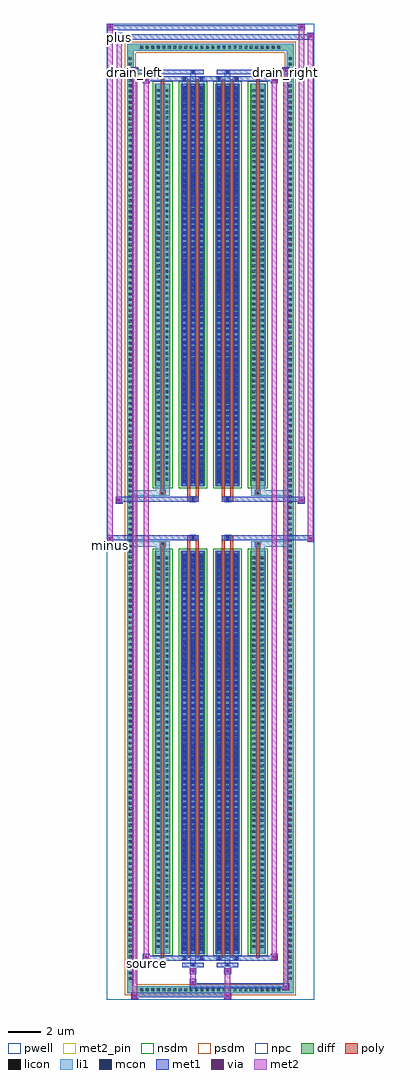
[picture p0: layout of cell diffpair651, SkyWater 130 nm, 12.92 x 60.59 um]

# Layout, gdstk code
import gdstk
lib = gdstk.Library(unit=1e-6, precision=5e-09)
def R(c, l, rs):  # rectangles x0, y0, x1, y1
    for r in rs: c.add(gdstk.rectangle(r[:2], r[2:], *l))
def A(c, l, x, y, w, h, nx, ny, dx, dy):  # array of equal rectangles
    R(c, l, [(x+i*dx, y+j*dy, x+i*dx+w, y+j*dy+h) for i in range(nx) for j in range(ny)])
def P(c, l, *ps):  # polygons
    for p in ps: c.add(gdstk.Polygon(p, *l))
pwell = (64, 44)
diff = (65, 20)
poly = (66, 20)
licon = (66, 44)
li1 = (67, 20)
mcon = (67, 44)
met1 = (68, 20)
via = (68, 44)
met2_pin = (69, 16)
met2 = (69, 20)
nsdm = (93, 44)
psdm = (94, 20)
npc = (95, 20)

diffpair651 = lib.new_cell('diffpair651')
R(diffpair651, pwell, [(-6.44,-29.86,6.44,30.73), (-3.76,-28.05,-0.01,-0.825), (0.01,-28.05,3.76,-0.825), (-3.76,0.825,-0.01,28.05), (0.01,0.825,3.76,28.05)])
A(diffpair651, diff, -4.455, -29.46, 0.41, 0.41, 26, 2, 0.34, 58.51)
A(diffpair651, diff, -5.17, -28.765, 0.41, 0.41, 1, 169, 0, 0.34)
A(diffpair651, diff, 4.76, -28.765, 0.41, 0.41, 1, 169, 0, 0.34)
R(diffpair651, diff, [(-4.455,-29.46,4.455,-29.05), (-5.17,-28.765,-4.76,28.765), (4.76,-28.765,5.17,28.765), (-3.45,-27.005,-2.47,-2.005), (-1.83,-27.005,-0.32,-2.005), (0.32,-27.005,1.83,-2.005), (2.47,-27.005,3.45,-2.005), (-3.45,2.005,-2.47,27.005), (-1.83,2.005,-0.32,27.005), (0.32,2.005,1.83,27.005), (2.47,2.005,3.45,27.005), (-4.455,29.05,4.455,29.46)])
P(diffpair651, diff, [(5.17,29.46),(-5.17,29.46),(-5.17,-29.05),(-4.76,-29.05),(-4.76,29.05),(4.76,29.05),(4.76,-29.05),(-4.76,-29.05),(-5.17,-29.05),(-5.17,-29.46),(5.17,-29.46)])
R(diffpair651, poly, [(-3.06,-27.255,-2.86,-1.755), (-1.44,-27.255,-1.24,-1.755), (-0.91,-27.255,-0.71,-1.755), (0.71,-27.255,0.91,-1.755), (1.24,-27.255,1.44,-1.755), (2.86,-27.255,3.06,-1.755), (-3.125,-1.755,-2.795,-1.425), (-3.125,-1.755,-2.795,-1.425), (-1.44,-1.755,-1.24,-1.355), (-0.91,-1.755,-0.71,-1.355), (0.71,-1.755,0.91,-1.355), (1.24,-1.755,1.44,-1.355), (2.795,-1.755,3.125,-1.425), (2.795,-1.755,3.125,-1.425), (-1.44,-1.355,-0.71,-1.025), (-1.24,-1.355,-0.91,-1.025), (0.71,-1.355,1.44,-1.025), (0.91,-1.355,1.24,-1.025), (-1.44,1.025,-0.71,1.355), (-1.24,1.025,-0.91,1.355), (0.71,1.025,1.44,1.355), (0.91,1.025,1.24,1.355), (-1.44,1.355,-1.24,1.755), (-0.91,1.355,-0.71,1.755), (0.71,1.355,0.91,1.755), (1.24,1.355,1.44,1.755), (-3.125,1.425,-2.795,1.755), (-3.125,1.425,-2.795,1.755), (2.795,1.425,3.125,1.755), (2.795,1.425,3.125,1.755), (-3.06,1.755,-2.86,27.255), (-1.44,1.755,-1.24,27.255), (-0.91,1.755,-0.71,27.255), (0.71,1.755,0.91,27.255), (1.24,1.755,1.44,27.255), (2.86,1.755,3.06,27.255)])
A(diffpair651, licon, -4.335, -29.34, 0.17, 0.17, 26, 2, 0.34, 58.51)
A(diffpair651, licon, -5.05, -28.645, 0.17, 0.17, 1, 169, 0, 0.34)
A(diffpair651, licon, 4.88, -28.645, 0.17, 0.17, 1, 169, 0, 0.34)
A(diffpair651, licon, -3.31, -26.66, 0.17, 0.17, 1, 72, 0, 0.34)
A(diffpair651, licon, -2.78, -26.66, 0.17, 0.17, 1, 72, 0, 0.34)
A(diffpair651, licon, -1.69, -26.66, 0.17, 0.17, 3, 72, 0.53, 0.34)
A(diffpair651, licon, 0.46, -26.66, 0.17, 0.17, 3, 72, 0.53, 0.34)
A(diffpair651, licon, 2.61, -26.66, 0.17, 0.17, 1, 72, 0, 0.34)
A(diffpair651, licon, 3.14, -26.66, 0.17, 0.17, 1, 72, 0, 0.34)
A(diffpair651, licon, -3.31, 2.35, 0.17, 0.17, 1, 72, 0, 0.34)
A(diffpair651, licon, -2.78, 2.35, 0.17, 0.17, 1, 72, 0, 0.34)
A(diffpair651, licon, -1.69, 2.35, 0.17, 0.17, 3, 72, 0.53, 0.34)
A(diffpair651, licon, 0.46, 2.35, 0.17, 0.17, 3, 72, 0.53, 0.34)
A(diffpair651, licon, 2.61, 2.35, 0.17, 0.17, 1, 72, 0, 0.34)
A(diffpair651, licon, 3.14, 2.35, 0.17, 0.17, 1, 72, 0, 0.34)
R(diffpair651, licon, [(-3.045,-1.675,-2.875,-1.505), (2.875,-1.675,3.045,-1.505), (-1.16,-1.275,-0.99,-1.105), (0.99,-1.275,1.16,-1.105), (-1.16,1.105,-0.99,1.275), (0.99,1.105,1.16,1.275), (-3.045,1.505,-2.875,1.675), (2.875,1.505,3.045,1.675)])
A(diffpair651, li1, -4.415, -29.42, 0.33, 0.33, 26, 2, 0.34, 58.51)
A(diffpair651, li1, -5.13, -28.725, 0.33, 0.33, 1, 169, 0, 0.34)
A(diffpair651, li1, 4.8, -28.725, 0.33, 0.33, 1, 169, 0, 0.34)
A(diffpair651, li1, -1.77, -27.005, 0.33, 25, 3, 2, 0.53, 29.01)
A(diffpair651, li1, 0.38, -27.005, 0.33, 25, 3, 2, 0.53, 29.01)
A(diffpair651, li1, -1.69, -26.83, 0.17, 0.17, 3, 69, 0.53, 0.36)
A(diffpair651, li1, -1.69, -26.83, 0.17, 24.65, 3, 2, 0.53, 29.01)
A(diffpair651, li1, 0.46, -26.83, 0.17, 0.17, 3, 69, 0.53, 0.36)
A(diffpair651, li1, 0.46, -26.83, 0.17, 24.65, 3, 2, 0.53, 29.01)
A(diffpair651, li1, -3.39, -26.74, 0.33, 0.33, 1, 72, 0, 0.34)
A(diffpair651, li1, -2.86, -26.74, 0.33, 0.33, 1, 72, 0, 0.34)
A(diffpair651, li1, -1.77, -26.74, 0.33, 0.33, 3, 72, 0.53, 0.34)
A(diffpair651, li1, 0.38, -26.74, 0.33, 0.33, 3, 72, 0.53, 0.34)
A(diffpair651, li1, 2.53, -26.74, 0.33, 0.33, 1, 72, 0, 0.34)
A(diffpair651, li1, 3.06, -26.74, 0.33, 0.33, 1, 72, 0, 0.34)
A(diffpair651, li1, -1.69, 2.18, 0.17, 0.17, 3, 69, 0.53, 0.36)
A(diffpair651, li1, 0.46, 2.18, 0.17, 0.17, 3, 69, 0.53, 0.36)
A(diffpair651, li1, -3.39, 2.27, 0.33, 0.33, 1, 72, 0, 0.34)
A(diffpair651, li1, -2.86, 2.27, 0.33, 0.33, 1, 72, 0, 0.34)
A(diffpair651, li1, -1.77, 2.27, 0.33, 0.33, 3, 72, 0.53, 0.34)
A(diffpair651, li1, 0.38, 2.27, 0.33, 0.33, 3, 72, 0.53, 0.34)
A(diffpair651, li1, 2.53, 2.27, 0.33, 0.33, 1, 72, 0, 0.34)
A(diffpair651, li1, 3.06, 2.27, 0.33, 0.33, 1, 72, 0, 0.34)
R(diffpair651, li1, [(-5.17,-29.46,-4.76,-29.05), (-5.17,-29.46,-4.76,-29.05), (-4.76,-29.46,4.76,-29.05), (4.76,-29.46,5.17,-29.05), (4.76,-29.46,5.17,-29.05), (-5.17,-29.05,-4.76,29.05), (4.76,-29.05,5.17,29.05), (-1.24,-27.81,-0.91,-27.005), (-1.16,-27.81,-0.99,-27.64), (0.91,-27.81,1.24,-27.005), (0.99,-27.81,1.16,-27.64), (-1.77,-27.38,-1.44,-27.005), (-1.69,-27.38,-1.52,-27.21), (-0.71,-27.38,-0.38,-27.005), (-0.63,-27.38,-0.46,-27.21), (0.38,-27.38,0.71,-27.005), (0.46,-27.38,0.63,-27.21), (1.44,-27.38,1.77,-27.005), (1.52,-27.38,1.69,-27.21), (-3.39,-27.005,-3.06,-2.005), (-2.86,-27.005,-2.53,-2.005), (2.53,-27.005,2.86,-2.005), (3.06,-27.005,3.39,-2.005), (-3.39,-2.005,-3.06,-1.425), (-2.86,-2.005,-2.53,-1.425), (2.53,-2.005,2.86,-1.425), (3.06,-2.005,3.39,-1.425), (-5.17,-1.755,-3.125,-1.425), (-3.39,-1.755,-3.125,-1.425), (-3.125,-1.755,-2.795,-1.425), (-2.795,-1.755,-2.53,-1.425), (2.53,-1.755,2.795,-1.425), (2.795,-1.755,3.125,-1.425), (2.795,-1.755,5.17,-1.425), (3.125,-1.755,3.39,-1.425), (-1.24,-1.355,-0.91,-1.025), (0.91,-1.355,1.24,-1.025), (-1.24,1.025,-0.91,1.355), (0.91,1.025,1.24,1.355), (-5.17,1.425,-3.125,1.755), (-3.39,1.425,-3.125,1.755), (-3.39,1.425,-3.06,2.005), (-3.125,1.425,-2.795,1.755), (-2.86,1.425,-2.53,2.005), (-2.795,1.425,-2.53,1.755), (2.53,1.425,2.795,1.755), (2.53,1.425,2.86,2.005), (2.795,1.425,3.125,1.755), (2.795,1.425,5.17,1.755), (3.06,1.425,3.39,2.005), (3.125,1.425,3.39,1.755), (-3.39,2.005,-3.06,27.005), (-2.86,2.005,-2.53,27.005), (2.53,2.005,2.86,27.005), (3.06,2.005,3.39,27.005), (-1.77,27.005,-1.44,27.38), (-1.24,27.005,-0.91,27.81), (-0.71,27.005,-0.38,27.38), (0.38,27.005,0.71,27.38), (0.91,27.005,1.24,27.81), (1.44,27.005,1.77,27.38), (-1.69,27.21,-1.52,27.38), (-0.63,27.21,-0.46,27.38), (0.46,27.21,0.63,27.38), (1.52,27.21,1.69,27.38), (-1.16,27.64,-0.99,27.81), (0.99,27.64,1.16,27.81), (-5.17,29.05,-4.76,29.46), (-5.17,29.05,-4.76,29.46), (-4.76,29.05,4.76,29.46), (4.76,29.05,5.17,29.46), (4.76,29.05,5.17,29.46)])
A(diffpair651, mcon, -1.69, -26.83, 0.17, 0.17, 3, 69, 0.53, 0.36)
A(diffpair651, mcon, 0.46, -26.83, 0.17, 0.17, 3, 69, 0.53, 0.36)
A(diffpair651, mcon, -1.69, 2.18, 0.17, 0.17, 3, 69, 0.53, 0.36)
A(diffpair651, mcon, 0.46, 2.18, 0.17, 0.17, 3, 69, 0.53, 0.36)
R(diffpair651, mcon, [(-1.16,-27.81,-0.99,-27.64), (0.99,-27.81,1.16,-27.64), (-1.69,-27.38,-1.52,-27.21), (-0.63,-27.38,-0.46,-27.21), (0.46,-27.38,0.63,-27.21), (1.52,-27.38,1.69,-27.21), (-1.16,-1.275,-0.99,-1.105), (0.99,-1.275,1.16,-1.105), (-1.16,1.105,-0.99,1.275), (0.99,1.105,1.16,1.275), (-1.69,27.21,-1.52,27.38), (-0.63,27.21,-0.46,27.38), (0.46,27.21,0.63,27.38), (1.52,27.21,1.69,27.38), (-1.16,27.64,-0.99,27.81), (0.99,27.64,1.16,27.81)])
A(diffpair651, met1, -1.75, -27.005, 0.29, 25, 3, 2, 0.53, 29.01)
A(diffpair651, met1, 0.4, -27.005, 0.29, 25, 3, 2, 0.53, 29.01)
A(diffpair651, met1, -1.75, -26.89, 0.29, 0.29, 3, 69, 0.53, 0.36)
A(diffpair651, met1, 0.4, -26.89, 0.29, 0.29, 3, 69, 0.53, 0.36)
A(diffpair651, met1, -1.75, 2.12, 0.29, 0.29, 3, 69, 0.53, 0.36)
A(diffpair651, met1, 0.4, 2.12, 0.29, 0.29, 3, 69, 0.53, 0.36)
R(diffpair651, met1, [(-4.9,-29.86,-4.47,-29.43), (0.86,-29.86,1.29,-29.43), (-4.9,-29.72,1.29,-29.43), (4.47,-29.29,4.9,-28.86), (-1.29,-29.15,4.9,-28.86), (-1.29,-29.01,-0.86,-28.58), (-1.29,-28.3,-0.86,-27.87), (0.86,-28.3,1.29,-27.87), (-1.75,-27.87,-0.4,-27.58), (-1.22,-27.87,-0.93,-27.58), (0.4,-27.87,1.75,-27.58), (0.93,-27.87,1.22,-27.58), (-4.19,-27.44,-3.76,-27.01), (-4.19,-27.44,-1.75,-27.15), (-1.75,-27.44,-1.46,-27.15), (-1.75,-27.44,-0.4,-27.15), (-0.69,-27.44,-0.4,-27.15), (-0.4,-27.44,0.4,-27.15), (0.4,-27.44,0.69,-27.15), (0.4,-27.44,1.75,-27.15), (1.46,-27.44,1.75,-27.15), (1.75,-27.44,4.19,-27.15), (3.76,-27.44,4.19,-27.01), (-6.44,-1.455,-6.01,-1.025), (6.01,-1.455,6.44,-1.025), (-6.44,-1.355,-0.71,-1.025), (-1.44,-1.355,-0.71,-1.025), (0.71,-1.355,1.44,-1.025), (0.71,-1.355,6.44,-1.025), (-1.22,-1.335,-0.93,-1.045), (0.93,-1.335,1.22,-1.045), (-5.87,0.925,-5.44,1.355), (5.44,0.925,5.87,1.355), (-5.87,1.025,-1.44,1.355), (-1.44,1.025,-0.71,1.355), (0.71,1.025,1.44,1.355), (1.44,1.025,5.87,1.355), (-1.22,1.045,-0.93,1.335), (0.93,1.045,1.22,1.335), (-4.19,27.01,-3.76,27.44), (3.76,27.01,4.19,27.44), (-4.19,27.15,-1.75,27.44), (-1.75,27.15,-1.46,27.44), (-1.75,27.15,-0.4,27.44), (-0.69,27.15,-0.4,27.44), (-0.4,27.15,0.4,27.44), (0.4,27.15,0.69,27.44), (0.4,27.15,1.75,27.44), (1.46,27.15,1.75,27.44), (1.75,27.15,4.19,27.44), (-4.9,27.58,-4.47,28.01), (-4.9,27.58,-1.75,27.87), (-1.75,27.58,-0.4,27.87), (-1.22,27.58,-0.93,27.87), (0.4,27.58,1.75,27.87), (0.93,27.58,1.22,27.87), (1.75,27.58,4.9,27.87), (4.47,27.58,4.9,28.01), (-5.87,29.73,-5.44,30.16), (-5.87,29.73,-3.76,30.06), (-3.76,29.73,3.76,30.06), (3.76,29.73,6.44,30.06), (6.01,29.73,6.44,30.16), (-6.44,30.3,-6.01,30.73), (-6.44,30.3,-3.76,30.63), (-3.76,30.3,3.76,30.63), (3.76,30.3,5.87,30.63), (5.44,30.3,5.87,30.73)])
R(diffpair651, via, [(-4.76,-29.72,-4.61,-29.57), (1,-29.72,1.15,-29.57), (4.61,-29.15,4.76,-29), (-1.15,-28.87,-1,-28.72), (-1.15,-28.16,-1,-28.01), (1,-28.16,1.15,-28.01), (-4.05,-27.3,-3.9,-27.15), (3.9,-27.3,4.05,-27.15), (-6.3,-1.315,-6.15,-1.165), (6.15,-1.315,6.3,-1.165), (-5.73,1.065,-5.58,1.215), (5.58,1.065,5.73,1.215), (-4.05,27.15,-3.9,27.3), (3.9,27.15,4.05,27.3), (-4.76,27.72,-4.61,27.87), (4.61,27.72,4.76,27.87), (-5.73,29.87,-5.58,30.02), (6.15,29.87,6.3,30.02), (-6.3,30.44,-6.15,30.59), (5.58,30.44,5.73,30.59)])
R(diffpair651, met2_pin, [(-4.225,-27.89,-3.725,-27.39), (-6.475,-1.905,-5.975,-1.405), (-4.935,27.46,-4.435,27.96), (4.435,27.46,4.935,27.96), (-5.905,29.61,-5.405,30.11)])
R(diffpair651, met2, [(-4.85,-29.81,-4.52,-29.48), (-4.85,-29.81,-4.52,27.96), (0.91,-29.81,1.24,-29.48), (0.91,-29.48,1.24,-28.25), (4.52,-29.24,4.85,-28.91), (4.52,-29.24,4.85,27.96), (-1.24,-28.96,-0.91,-28.63), (-1.24,-28.63,-0.91,-28.25), (-1.24,-28.25,-0.91,-27.92), (0.91,-28.25,1.24,-27.92), (-4.14,-27.39,-3.81,-27.06), (-4.14,-27.39,-3.81,27.39), (3.81,-27.39,4.14,-27.06), (3.81,-27.39,4.14,27.39), (-6.39,-1.405,-6.06,-1.075), (-6.39,-1.405,-6.06,30.68), (6.06,-1.405,6.39,-1.075), (6.06,-1.405,6.39,30.11), (-5.82,0.975,-5.49,1.305), (-5.82,0.975,-5.49,30.11), (5.49,0.975,5.82,1.305), (5.49,0.975,5.82,30.68), (-4.14,27.06,-3.81,27.39), (3.81,27.06,4.14,27.39), (-4.85,27.63,-4.52,27.96), (4.52,27.63,4.85,27.96), (-5.82,29.78,-5.49,30.11), (6.06,29.78,6.39,30.11), (-6.39,30.35,-6.06,30.68), (5.49,30.35,5.82,30.68)])
P(diffpair651, met2, [(6.39,-1.405),(6.39,-1.405),(6.39,-1.075),(6.39,-1.075)],
  [(6.39,29.78),(6.39,29.78),(6.39,30.11),(6.39,30.11)],
  [(-6.06,-1.405),(-6.06,-1.405),(-6.06,-1.075),(-6.06,-1.075)],
  [(-6.06,30.35),(-6.06,30.35),(-6.06,30.68),(-6.06,30.68)],
  [(5.82,0.975),(5.82,0.975),(5.82,1.305),(5.82,1.305)],
  [(5.82,30.35),(5.82,30.35),(5.82,30.68),(5.82,30.68)],
  [(-5.49,0.975),(-5.49,0.975),(-5.49,1.305),(-5.49,1.305)],
  [(-5.49,29.78),(-5.49,29.78),(-5.49,30.11),(-5.49,30.11)],
  [(-4.52,-29.81),(-4.52,-29.81),(-4.52,-29.48),(-4.52,-29.48)],
  [(-4.52,27.63),(-4.52,27.63),(-4.52,27.96),(-4.52,27.96)],
  [(4.85,-29.24),(4.85,-29.24),(4.85,-28.91),(4.85,-28.91)],
  [(4.85,27.63),(4.85,27.63),(4.85,27.96),(4.85,27.96)],
  [(-3.81,-27.39),(-3.81,-27.39),(-3.81,-27.06),(-3.81,-27.06)],
  [(-3.81,27.06),(-3.81,27.06),(-3.81,27.39),(-3.81,27.39)],
  [(4.14,-27.39),(4.14,-27.39),(4.14,-27.06),(4.14,-27.06)],
  [(4.14,27.06),(4.14,27.06),(4.14,27.39),(4.14,27.39)])
R(diffpair651, nsdm, [(-3.58,-27.135,-2.34,-1.875), (-1.96,-27.135,-0.19,-1.875), (0.19,-27.135,1.96,-1.875), (2.34,-27.135,3.58,-1.875), (-3.58,1.875,-2.34,27.135), (-1.96,1.875,-0.19,27.135), (0.19,1.875,1.96,27.135), (2.34,1.875,3.58,27.135)])
P(diffpair651, psdm, [(5.3,29.59),(-5.3,29.59),(-5.3,-28.92),(-4.63,-28.92),(-4.63,28.92),(4.63,28.92),(4.63,-28.92),(-4.63,-28.92),(-5.3,-28.92),(-5.3,-29.59),(5.3,-29.59)])
R(diffpair651, npc, [(-3.145,-1.775,-2.775,-1.405), (2.775,-1.775,3.145,-1.405), (-1.26,-1.375,-0.89,-1.005), (0.89,-1.375,1.26,-1.005), (-1.26,1.005,-0.89,1.375), (0.89,1.005,1.26,1.375), (-3.145,1.405,-2.775,1.775), (2.775,1.405,3.145,1.775)])
diffpair651.add(gdstk.Label('minus', (-6.225,-1.655), layer=69, texttype=5))
diffpair651.add(gdstk.Label('drain_right', (4.685,27.71), layer=69, texttype=5))
diffpair651.add(gdstk.Label('drain_left', (-4.685,27.71), layer=69, texttype=5))
diffpair651.add(gdstk.Label('source', (-3.975,-27.64), layer=69, texttype=5))
diffpair651.add(gdstk.Label('plus', (-5.655,29.86), layer=69, texttype=5))

lib.write_gds('diffpair651.gds')
